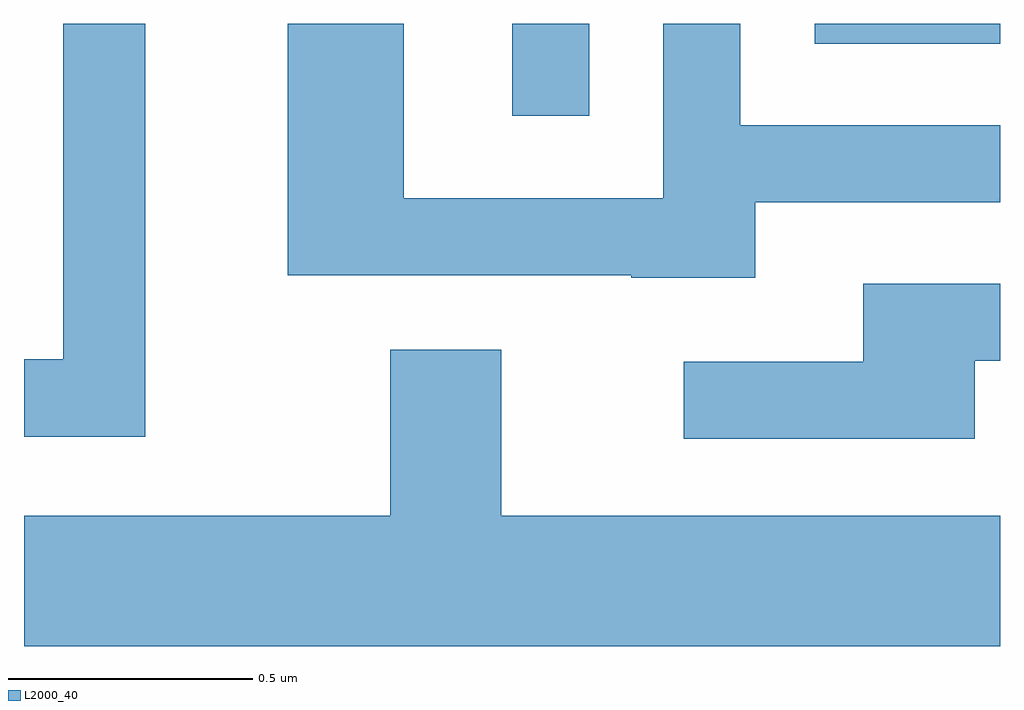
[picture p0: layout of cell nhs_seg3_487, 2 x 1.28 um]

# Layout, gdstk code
import gdstk
lib = gdstk.Library(unit=1e-6, precision=1e-09)
def R(c, l, rs):  # rectangles x0, y0, x1, y1
    for r in rs: c.add(gdstk.rectangle(r[:2], r[2:], *l))
def P(c, l, *ps):  # polygons
    for p in ps: c.add(gdstk.Polygon(p, *l))
L2000_40 = (2000, 40)

nhs_seg3_487 = lib.new_cell('nhs_seg3_487')
R(nhs_seg3_487, L2000_40, [(189.611,1193.703,189.769,1193.892), (190.231,1193.851,190.611,1193.892)])
P(nhs_seg3_487, L2000_40, [(190.109,1193.526),(190.611,1193.526),(190.611,1193.684),(190.079,1193.684),(190.079,1193.892),(189.921,1193.892),(189.921,1193.534),(189.389,1193.534),(189.389,1193.892),(189.151,1193.892),(189.151,1193.376),(189.855,1193.376),(189.855,1193.371),(190.109,1193.371)],
  [(188.859,1193.892),(188.691,1193.892),(188.691,1193.204),(188.611,1193.204),(188.611,1193.046),(188.859,1193.046)],
  [(190.559,1193.201),(190.611,1193.201),(190.611,1193.359),(190.331,1193.359),(190.331,1193.199),(189.963,1193.199),(189.963,1193.041),(190.559,1193.041)],
  [(190.611,1192.884),(189.589,1192.884),(189.589,1193.224),(189.361,1193.224),(189.361,1192.884),(188.611,1192.884),(188.611,1192.616),(190.611,1192.616)])

lib.write_gds('nhs_seg3_487.gds')
